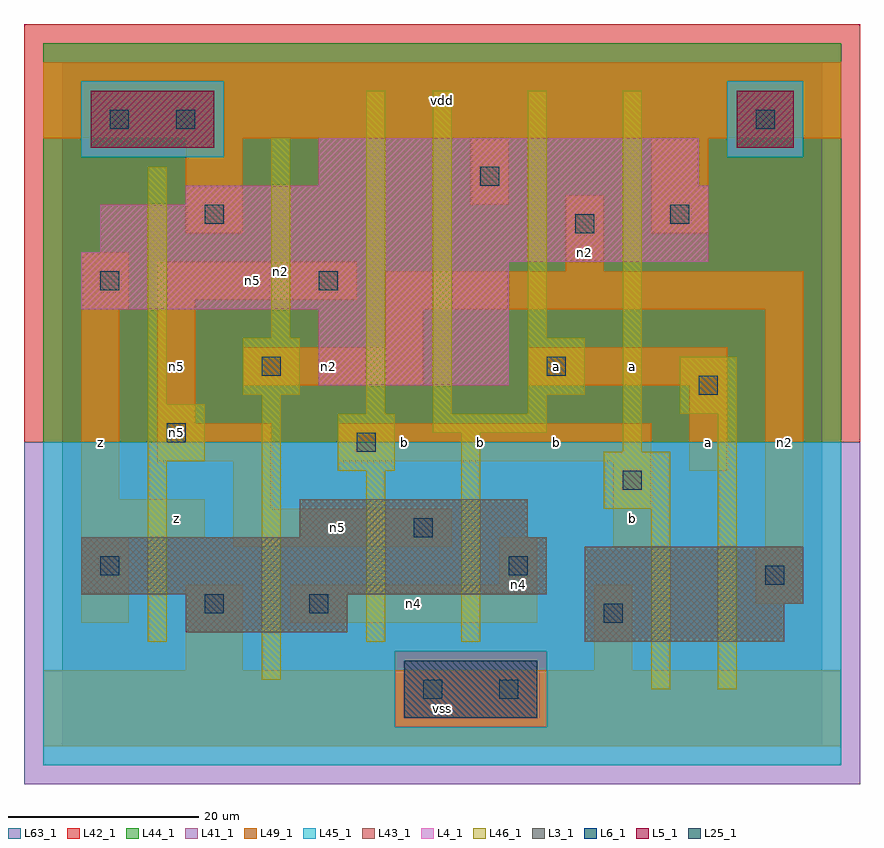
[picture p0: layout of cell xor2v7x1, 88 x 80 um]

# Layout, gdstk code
import gdstk
lib = gdstk.Library(unit=1e-6, precision=1e-09)
def R(c, l, rs):  # rectangles x0, y0, x1, y1
    for r in rs: c.add(gdstk.rectangle(r[:2], r[2:], *l))
L3_1 = (3, 1)
L4_1 = (4, 1)
L5_1 = (5, 1)
L6_1 = (6, 1)
L25_1 = (25, 1)
L41_1 = (41, 1)
L42_1 = (42, 1)
L43_1 = (43, 1)
L44_1 = (44, 1)
L45_1 = (45, 1)
L46_1 = (46, 1)
L49_1 = (49, 1)
L63_1 = (63, 1)

xor2v7x1 = lib.new_cell('xor2v7x1')
R(xor2v7x1, L3_1, [(55,11,76,15), (13,12,30,16), (55,15,78,21), (2,16,51,22), (25,22,49,26)])
R(xor2v7x1, L4_1, [(27,38,47,46), (2,46,47,51), (2,51,68,52), (4,52,68,57), (13,57,68,59), (27,59,67,64)])
R(xor2v7x1, L5_1, [(3,63,16,69), (71,63,77,69)])
R(xor2v7x1, L6_1, [(36,3,50,9), (36,3,50,9)])
R(xor2v7x1, L25_1, [(38,5,40,7), (46,5,48,7), (57,13,59,15), (15,14,17,16), (26,14,28,16), (74,17,76,19), (4,18,6,20), (47,18,49,20), (37,22,39,24), (59,27,61,29), (31,31,33,33), (11,32,13,34), (67,37,69,39), (21,39,23,41), (51,39,53,41), (4,48,6,50), (27,48,29,50), (54,54,56,56), (15,55,17,57), (64,55,66,57), (44,59,46,61), (5,65,7,67), (12,65,14,67), (73,65,75,67)])
R(xor2v7x1, L41_1, [(-4,-4,84,32)])
R(xor2v7x1, L42_1, [(-4,32,84,76)])
R(xor2v7x1, L43_1, [(36,3,50,9), (55,11,76,15), (13,12,30,16), (55,15,78,21), (2,16,51,22), (25,22,49,26), (27,38,47,46), (2,46,47,51), (2,51,68,52), (4,52,68,57), (13,57,68,59), (27,59,67,64), (3,63,16,69), (71,63,77,69)])
R(xor2v7x1, L44_1, [(35,2,51,10), (-2,32,82,62), (-2,62,2,70), (17,62,70,70), (78,62,82,70), (-2,70,82,74)])
R(xor2v7x1, L45_1, [(-2,-2,82,2), (-2,2,35,10), (51,2,82,10), (-2,10,82,32), (2,62,17,70), (70,62,78,70)])
R(xor2v7x1, L46_1, [(62,6,64,25), (69,6,71,35), (21,7,23,37), (9,11,11,30), (32,11,34,29), (42,11,44,33), (57,25,64,31), (29,29,35,35), (9,30,15,36), (59,31,61,69), (39,33,51,35), (32,35,34,69), (39,35,41,69), (49,35,51,37), (65,35,71,41), (9,36,11,61), (19,37,25,43), (49,37,55,43), (22,43,24,64), (49,43,51,69)])
R(xor2v7x1, L49_1, [(-2,0,82,8), (13,8,19,17), (56,8,60,17), (2,13,7,22), (24,13,50,17), (73,15,78,21), (46,17,50,22), (18,21,41,25), (58,21,62,30), (74,21,78,46), (2,22,15,26), (18,25,22,30), (2,26,6,46), (66,29,70,38), (10,30,22,34), (29,30,62,34), (10,34,14,47), (19,38,38,42), (49,38,70,42), (34,42,38,46), (2,46,7,52), (34,46,78,50), (10,47,31,51), (53,50,57,58), (13,54,19,64), (62,54,68,64), (43,57,47,64), (-2,64,82,72)])
R(xor2v7x1, L63_1, [(0,0,80,72)])
xor2v7x1.add(gdstk.Label('n5', (12,33), layer=49, texttype=1))
xor2v7x1.add(gdstk.Label('n2', (23,50), layer=46, texttype=1))
xor2v7x1.add(gdstk.Label('z', (4,32), layer=49, texttype=1))
xor2v7x1.add(gdstk.Label('z', (12,24), layer=49, texttype=1))
xor2v7x1.add(gdstk.Label('n5', (12,40), layer=49, texttype=1))
xor2v7x1.add(gdstk.Label('b', (36,32), layer=49, texttype=1))
xor2v7x1.add(gdstk.Label('n2', (28,40), layer=49, texttype=1))
xor2v7x1.add(gdstk.Label('n5', (20,49), layer=49, texttype=1))
xor2v7x1.add(gdstk.Label('vss', (40,4), layer=49, texttype=1))
xor2v7x1.add(gdstk.Label('n4', (37,15), layer=49, texttype=1))
xor2v7x1.add(gdstk.Label('n4', (48,17), layer=49, texttype=1))
xor2v7x1.add(gdstk.Label('b', (44,32), layer=49, texttype=1))
xor2v7x1.add(gdstk.Label('n5', (29,23), layer=49, texttype=1))
xor2v7x1.add(gdstk.Label('b', (52,32), layer=49, texttype=1))
xor2v7x1.add(gdstk.Label('a', (52,40), layer=49, texttype=1))
xor2v7x1.add(gdstk.Label('n2', (55,52), layer=49, texttype=1))
xor2v7x1.add(gdstk.Label('vdd', (40,68), layer=49, texttype=1))
xor2v7x1.add(gdstk.Label('b', (60,24), layer=49, texttype=1))
xor2v7x1.add(gdstk.Label('a', (68,32), layer=49, texttype=1))
xor2v7x1.add(gdstk.Label('a', (60,40), layer=49, texttype=1))
xor2v7x1.add(gdstk.Label('n2', (76,32), layer=49, texttype=1))

lib.write_gds('xor2v7x1.gds')
